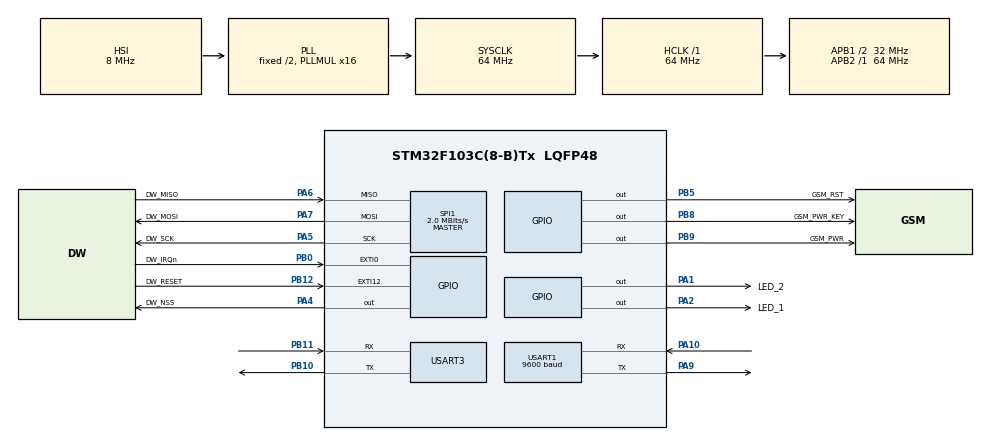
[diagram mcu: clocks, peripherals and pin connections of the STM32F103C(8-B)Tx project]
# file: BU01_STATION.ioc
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Mcu.Family=STM32F1
Mcu.Name=STM32F103C(8-B)Tx
Mcu.Package=LQFP48
NVIC.EXTI0_IRQn=true\:0\:0\:false\:false\:true\:true\:true\:true
NVIC.PriorityGroup=NVIC_PRIORITYGROUP_4
NVIC.USART1_IRQn=true\:0\:0\:false\:false\:true\:true\:true\:true
NVIC.USART3_IRQn=true\:0\:0\:false\:false\:true\:true\:true\:true
PA1.GPIO_Label=LED_2
PA1.Signal=GPIO_Output
PA10.Mode=Asynchronous
PA10.Signal=USART1_RX
PA13.Mode=Serial_Wire
PA13.Signal=SYS_JTMS-SWDIO
PA14.Mode=Serial_Wire
PA14.Signal=SYS_JTCK-SWCLK
PA2.GPIO_Label=LED_1
PA2.Signal=GPIO_Output
PA4.GPIO_Label=DW_NSS
PA4.GPIO_Speed=GPIO_SPEED_FREQ_HIGH
PA4.PinState=GPIO_PIN_SET
PA4.Signal=GPIO_Output
PA5.GPIO_Label=DW_SCK
PA5.Mode=Full_Duplex_Master
PA5.Signal=SPI1_SCK
PA6.GPIO_Label=DW_MISO
PA6.Mode=Full_Duplex_Master
PA6.Signal=SPI1_MISO
PA7.GPIO_Label=DW_MOSI
PA7.Mode=Full_Duplex_Master
PA7.Signal=SPI1_MOSI
PA9.Mode=Asynchronous
PA9.Signal=USART1_TX
PB0.GPIO_Label=DW_IRQn
PB0.GPIO_PuPd=GPIO_PULLDOWN
PB0.Signal=GPXTI0
PB10.Mode=Asynchronous
PB10.Signal=USART3_TX
PB11.Mode=Asynchronous
PB11.Signal=USART3_RX
PB12.GPIO_Label=DW_RESET
PB12.Signal=GPXTI12
PB5.GPIO_Label=GSM_RST
PB5.Signal=GPIO_Output
PB8.GPIO_Label=GSM_PWR_KEY
PB8.Signal=GPIO_Output
PB9.GPIO_Label=GSM_PWR
PB9.Signal=GPIO_Output
ProjectManager.HeapSize=0x200
ProjectManager.StackSize=0x400
ProjectManager.TargetToolchain=Makefile
RCC.AHBFreq_Value=64000000
RCC.APB1CLKDivider=RCC_HCLK_DIV2
RCC.APB1Freq_Value=32000000
RCC.APB1TimFreq_Value=64000000
RCC.APB2Freq_Value=64000000
RCC.APB2TimFreq_Value=64000000
RCC.HCLKFreq_Value=64000000
RCC.PLLMUL=RCC_PLL_MUL16
RCC.SYSCLKFreq_VALUE=64000000
RCC.SYSCLKSource=RCC_SYSCLKSOURCE_PLLCLK
RCC.USBFreq_Value=64000000
SPI1.BaudRatePrescaler=SPI_BAUDRATEPRESCALER_32
SPI1.CalculateBaudRate=2.0 MBits/s
SPI1.Direction=SPI_DIRECTION_2LINES
SPI1.Mode=SPI_MODE_MASTER
SPI1.VirtualType=VM_MASTER
USART1.BaudRate=9600
USART1.VirtualMode=VM_ASYNC
USART3.VirtualMode=VM_ASYNC
board=custom

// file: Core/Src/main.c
/* USER CODE BEGIN Header */
/**
  ******************************************************************************
  * @file           : main.c
  * @brief          : Main program body
  ******************************************************************************
  * @attention
  *
  * Copyright (c) 2023 STMicroelectronics.
  * All rights reserved.
  *
  * This software is licensed under terms that can be found in the LICENSE file
  * in the root directory of this software component.
  * If no LICENSE file comes with this software, it is provided AS-IS.
  *
  ******************************************************************************
  */
/* USER CODE END Header */
#include "main.h"

/* USER CODE BEGIN Includes */
#include "ex_05b_main.h"
#include "ble_stream.h"
#include "custom-at.h"
#include "custom-mqtt.h"
#include "deca_device_api.h"
#include "deca_regs.h"
#include "deca_spi.h"
#include "port.h"
/* USER CODE END Includes */

SPI_HandleTypeDef hspi1;

UART_HandleTypeDef huart1;
UART_HandleTypeDef huart3;

/* USER CODE BEGIN PV */
uint32_t timeToPrint = 0;
/* USER CODE END PV */

void SystemClock_Config(void);
static void MX_GPIO_Init(void);
static void MX_SPI1_Init(void);
static void MX_USART1_UART_Init(void);
static void MX_USART3_UART_Init(void);

int main(void)
{

  /* MCU Configuration--------------------------------------------------------*/

  /* Reset of all peripherals, Initializes the Flash interface and the Systick. */
  HAL_Init();

  /* Configure the system clock */
  SystemClock_Config();

  /* Initialize all configured peripherals */
  MX_GPIO_Init();
  MX_SPI1_Init();
  MX_USART1_UART_Init();
  MX_USART3_UART_Init();
  /* USER CODE BEGIN 2 */
  ble_sniff_init( &huart3 );

  // setup_DW1000RSTnIRQ(0);
  uwb_setup();

  mqtt_init (
    NULL,
    NULL,
    "mqtt-explorer-drvttgh"
  );

  AT_usart_init_config(
    &huart1,
    "claro.com.br", "claro", "claro", 1497,
    "broker.hivemq.com", "", "", 1883
  );

  for ( int i = 0; i < 100; i++ ){
    HAL_GPIO_TogglePin( LED_1_GPIO_Port, LED_1_Pin );
    HAL_Delay(50);
  };

  /* USER CODE END 2 */

  /* Infinite loop */
  while (1)
  {

    /* USER CODE BEGIN 3 */
    GSM_task();

    mqtt_task();
    ble_task ();

    uwb_loop();

    HAL_Delay( 1 );

    if ( HAL_GetTick() - timeToPrint > 1000 ) {
      HAL_GPIO_TogglePin( LED_2_GPIO_Port, LED_2_Pin );
      timeToPrint = HAL_GetTick();
    }

  }
  /* USER CODE END 3 */
}

void SystemClock_Config(void)
{
  RCC_OscInitTypeDef RCC_OscInitStruct = {0};
  RCC_ClkInitTypeDef RCC_ClkInitStruct = {0};

  /** Initializes the RCC Oscillators according to the specified parameters
  * in the RCC_OscInitTypeDef structure.
  */
  RCC_OscInitStruct.OscillatorType = RCC_OSCILLATORTYPE_HSI;
  RCC_OscInitStruct.HSIState = RCC_HSI_ON;
  RCC_OscInitStruct.HSICalibrationValue = RCC_HSICALIBRATION_DEFAULT;
  RCC_OscInitStruct.PLL.PLLState = RCC_PLL_ON;
  RCC_OscInitStruct.PLL.PLLSource = RCC_PLLSOURCE_HSI_DIV2;
  RCC_OscInitStruct.PLL.PLLMUL = RCC_PLL_MUL16;
  if (HAL_RCC_OscConfig(&RCC_OscInitStruct) != HAL_OK)
  {
    Error_Handler();
  }

  /** Initializes the CPU, AHB and APB buses clocks
  */
  RCC_ClkInitStruct.ClockType = RCC_CLOCKTYPE_HCLK|RCC_CLOCKTYPE_SYSCLK
                              |RCC_CLOCKTYPE_PCLK1|RCC_CLOCKTYPE_PCLK2;
  RCC_ClkInitStruct.SYSCLKSource = RCC_SYSCLKSOURCE_PLLCLK;
  RCC_ClkInitStruct.AHBCLKDivider = RCC_SYSCLK_DIV1;
  RCC_ClkInitStruct.APB1CLKDivider = RCC_HCLK_DIV2;
  RCC_ClkInitStruct.APB2CLKDivider = RCC_HCLK_DIV1;

  if (HAL_RCC_ClockConfig(&RCC_ClkInitStruct, FLASH_LATENCY_2) != HAL_OK)
  {
    Error_Handler();
  }
}

static void MX_SPI1_Init(void)
{

  /* SPI1 parameter configuration*/
  hspi1.Instance = SPI1;
  hspi1.Init.Mode = SPI_MODE_MASTER;
  hspi1.Init.Direction = SPI_DIRECTION_2LINES;
  hspi1.Init.DataSize = SPI_DATASIZE_8BIT;
  hspi1.Init.CLKPolarity = SPI_POLARITY_LOW;
  hspi1.Init.CLKPhase = SPI_PHASE_1EDGE;
  hspi1.Init.NSS = SPI_NSS_SOFT;
  hspi1.Init.BaudRatePrescaler = SPI_BAUDRATEPRESCALER_32;
  hspi1.Init.FirstBit = SPI_FIRSTBIT_MSB;
  hspi1.Init.TIMode = SPI_TIMODE_DISABLE;
  hspi1.Init.CRCCalculation = SPI_CRCCALCULATION_DISABLE;
  hspi1.Init.CRCPolynomial = 10;
  if (HAL_SPI_Init(&hspi1) != HAL_OK)
  {
    Error_Handler();
  }

}

static void MX_USART1_UART_Init(void)
{

  huart1.Instance = USART1;
  huart1.Init.BaudRate = 9600;
  huart1.Init.WordLength = UART_WORDLENGTH_8B;
  huart1.Init.StopBits = UART_STOPBITS_1;
  huart1.Init.Parity = UART_PARITY_NONE;
  huart1.Init.Mode = UART_MODE_TX_RX;
  huart1.Init.HwFlowCtl = UART_HWCONTROL_NONE;
  huart1.Init.OverSampling = UART_OVERSAMPLING_16;
  if (HAL_UART_Init(&huart1) != HAL_OK)
  {
    Error_Handler();
  }

}

static void MX_USART3_UART_Init(void)
{

  huart3.Instance = USART3;
  huart3.Init.BaudRate = 115200;
  huart3.Init.WordLength = UART_WORDLENGTH_8B;
  huart3.Init.StopBits = UART_STOPBITS_1;
  huart3.Init.Parity = UART_PARITY_NONE;
  huart3.Init.Mode = UART_MODE_TX_RX;
  huart3.Init.HwFlowCtl = UART_HWCONTROL_NONE;
  huart3.Init.OverSampling = UART_OVERSAMPLING_16;
  if (HAL_UART_Init(&huart3) != HAL_OK)
  {
    Error_Handler();
  }

}

static void MX_GPIO_Init(void)
{
  GPIO_InitTypeDef GPIO_InitStruct = {0};

  /* GPIO Ports Clock Enable */
  __HAL_RCC_GPIOA_CLK_ENABLE();
  __HAL_RCC_GPIOB_CLK_ENABLE();

  /*Configure GPIO pin Output Level */
  HAL_GPIO_WritePin(GPIOA, LED_2_Pin|LED_1_Pin, GPIO_PIN_RESET);

  /*Configure GPIO pin Output Level */
  HAL_GPIO_WritePin(DW_NSS_GPIO_Port, DW_NSS_Pin, GPIO_PIN_SET);

  /*Configure GPIO pin Output Level */
  HAL_GPIO_WritePin(GPIOB, GSM_RST_Pin|GSM_PWR_KEY_Pin|GSM_PWR_Pin, GPIO_PIN_RESET);

  /*Configure GPIO pins : LED_2_Pin LED_1_Pin */
  GPIO_InitStruct.Pin = LED_2_Pin|LED_1_Pin;
  GPIO_InitStruct.Mode = GPIO_MODE_OUTPUT_PP;
  GPIO_InitStruct.Pull = GPIO_NOPULL;
  GPIO_InitStruct.Speed = GPIO_SPEED_FREQ_LOW;
  HAL_GPIO_Init(GPIOA, &GPIO_InitStruct);

  /*Configure GPIO pin : DW_NSS_Pin */
  GPIO_InitStruct.Pin = DW_NSS_Pin;
  GPIO_InitStruct.Mode = GPIO_MODE_OUTPUT_PP;
  GPIO_InitStruct.Pull = GPIO_NOPULL;
  GPIO_InitStruct.Speed = GPIO_SPEED_FREQ_HIGH;
  HAL_GPIO_Init(DW_NSS_GPIO_Port, &GPIO_InitStruct);

  /*Configure GPIO pin : DW_IRQn_Pin */
  GPIO_InitStruct.Pin = DW_IRQn_Pin;
  GPIO_InitStruct.Mode = GPIO_MODE_IT_RISING;
  GPIO_InitStruct.Pull = GPIO_PULLDOWN;
  HAL_GPIO_Init(DW_IRQn_GPIO_Port, &GPIO_InitStruct);

  /*Configure GPIO pin : DW_RESET_Pin */
  GPIO_InitStruct.Pin = DW_RESET_Pin;
  GPIO_InitStruct.Mode = GPIO_MODE_IT_RISING;
  GPIO_InitStruct.Pull = GPIO_NOPULL;
  HAL_GPIO_Init(DW_RESET_GPIO_Port, &GPIO_InitStruct);

  /*Configure GPIO pins : GSM_RST_Pin GSM_PWR_KEY_Pin GSM_PWR_Pin */
  GPIO_InitStruct.Pin = GSM_RST_Pin|GSM_PWR_KEY_Pin|GSM_PWR_Pin;
  GPIO_InitStruct.Mode = GPIO_MODE_OUTPUT_PP;
  GPIO_InitStruct.Pull = GPIO_NOPULL;
  GPIO_InitStruct.Speed = GPIO_SPEED_FREQ_LOW;
  HAL_GPIO_Init(GPIOB, &GPIO_InitStruct);

  /* EXTI interrupt init*/
  HAL_NVIC_SetPriority(EXTI0_IRQn, 0, 0);
  HAL_NVIC_EnableIRQ(EXTI0_IRQn);

}

void Error_Handler(void)
{
  __disable_irq();
  while (1)
  {
  }
}
